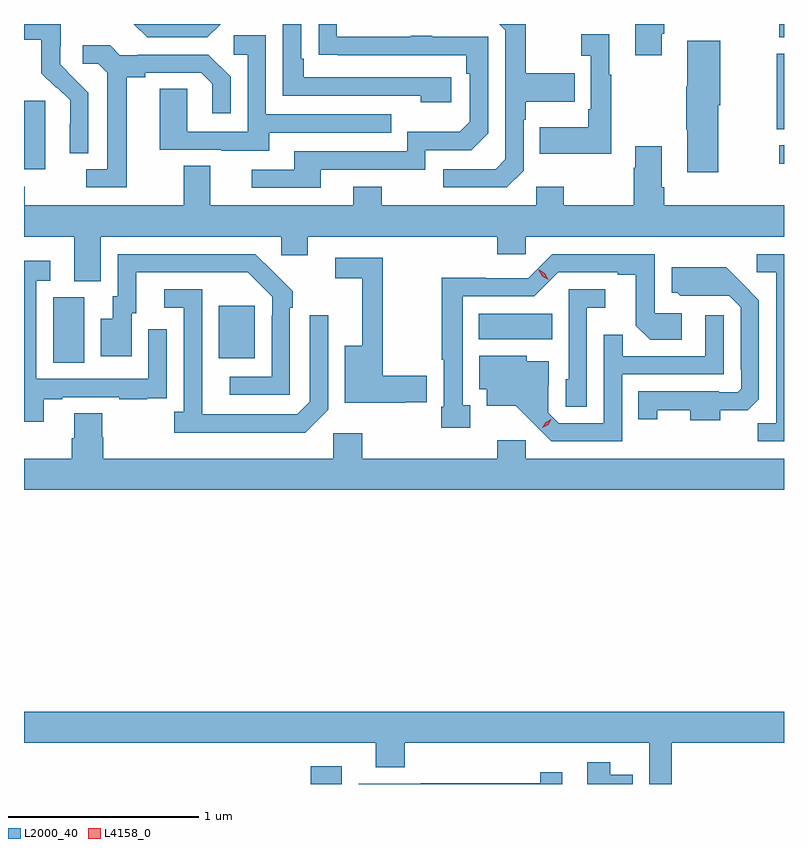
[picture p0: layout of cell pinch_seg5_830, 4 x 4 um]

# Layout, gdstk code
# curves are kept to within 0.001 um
import gdstk
lib = gdstk.Library(unit=1e-6, precision=1e-09)
def R(c, l, rs):  # rectangles x0, y0, x1, y1
    for r in rs: c.add(gdstk.rectangle(r[:2], r[2:], *l))
def P(c, l, *ps):  # polygons
    for p in ps: c.add(gdstk.Polygon(p, *l))
L2000_40 = (2000, 40)
L4158_0 = (4158, 0)

pinch_seg5_830 = lib.new_cell('pinch_seg5_830')
R(pinch_seg5_830, L2000_40, [(759.194,875.191,759.358,875.284), (757.838,877.408,758.002,877.752), (758.711,877.433,758.899,877.708), (760.079,877.532,760.466,877.666), (757.685,878.426,757.798,878.787), (761.661,878.455,761.685,878.553), (761.647,878.638,761.685,879.035), (761.661,879.12,761.685,879.191)])
P(pinch_seg5_830, L2000_40, [(761.041,879.139),(761.054,879.139),(761.054,879.191),(760.901,879.191),(760.901,879.027),(761.041,879.027)],
  [(759.934,878.91),(759.157,878.91),(759.157,879.007),(759.144,879.007),(759.144,879.191),(759.048,879.191),(759.048,878.814),(759.773,878.814),(759.773,878.78),(759.934,878.78)],
  [(760.314,878.418),(760.314,878.687),(760.327,878.687),(760.327,878.783),(760.583,878.783),(760.583,878.931),(760.327,878.931),(760.327,879.191),(760.186,879.191),(760.218,879.159),(760.218,878.478),(760.167,878.427),(759.891,878.427),(759.891,878.331),(760.227,878.331)],
  [(758.72,879.191),(758.263,879.191),(758.334,879.12),(758.649,879.12)],
  [(758.022,878.83),(757.876,878.978),(757.876,879.075),(757.878,879.075),(757.878,879.191),(757.685,879.191),(757.685,879.108),(757.777,879.108),(757.777,878.933),(757.854,878.856),(757.857,878.859),(757.928,878.789),(757.928,878.666),(757.926,878.666),(757.926,878.512),(758.022,878.512)],
  [(759.247,878.424),(759.798,878.424),(759.798,878.526),(760.038,878.526),(760.128,878.616),(760.128,879.123),(759.833,879.123),(759.833,879.128),(759.721,879.128),(759.721,879.123),(759.331,879.123),(759.331,879.191),(759.235,879.191),(759.235,879.028),(760.012,879.027),(760.012,878.93),(760.032,878.93),(760.032,878.676),(759.979,878.623),(759.702,878.623),(759.702,878.52),(759.107,878.52),(759.107,878.424),(758.883,878.424),(758.883,878.328),(759.247,878.328)],
  [(760.777,878.923),(760.765,878.923),(760.765,879.136),(760.617,879.136),(760.617,879.023),(760.668,879.023),(760.668,878.743),(760.656,878.743),(760.656,878.647),(760.399,878.647),(760.399,878.507),(760.777,878.507)],
  [(758.977,878.619),(759.617,878.619),(759.617,878.715),(758.958,878.715),(758.958,879.131),(758.79,879.131),(758.79,879.03),(758.862,879.03),(758.862,878.625),(758.544,878.625),(758.544,878.849),(758.399,878.849),(758.399,878.529),(758.723,878.529),(758.723,878.525),(758.977,878.525)],
  [(761.34,878.763),(761.35,878.763),(761.35,879.103),(761.177,879.103),(761.177,878.863),(761.17,878.863),(761.17,878.635),(761.177,878.635),(761.177,878.412),(761.34,878.412)],
  [(758.227,878.912),(758.323,878.912),(758.323,878.934),(758.618,878.934),(758.675,878.877),(758.675,878.721),(758.772,878.721),(758.772,878.914),(758.656,879.03),(758.284,879.03),(758.284,879.027),(758.19,879.027),(758.138,879.079),(757.995,879.079),(757.995,878.982),(758.076,878.982),(758.123,878.935),(758.123,878.427),(758.013,878.427),(758.013,878.331),(758.227,878.331)],
  [(760.175,877.979),(760.326,877.979),(760.326,878.072),(761.685,878.072),(761.685,878.236),(761.054,878.236),(761.054,878.332),(761.041,878.332),(761.041,878.548),(760.901,878.548),(760.901,878.435),(760.894,878.435),(760.894,878.236),(760.527,878.236),(760.527,878.335),(760.38,878.335),(760.38,878.236),(759.567,878.236),(759.567,878.335),(759.419,878.335),(759.419,878.236),(758.665,878.236),(758.665,878.444),(758.525,878.444),(758.525,878.236),(757.689,878.236),(757.689,878.335),(757.685,878.335),(757.685,878.072),(757.949,878.072),(757.949,877.837),(758.089,877.837),(758.089,878.072),(759.039,878.072),(759.039,877.974),(759.178,877.974),(759.178,878.072),(760.175,878.072)],
  [(761.685,877.98),(761.541,877.98),(761.541,877.884),(761.643,877.884),(761.643,877.091),(761.548,877.091),(761.548,876.996),(761.685,876.996)],
  [(759.084,877.697),(759.099,877.697),(759.099,877.785),(758.902,877.98),(758.178,877.98),(758.178,877.758),(758.153,877.758),(758.153,877.639),(758.09,877.639),(758.09,877.443),(758.251,877.443),(758.251,877.668),(758.275,877.668),(758.275,877.884),(758.863,877.884),(758.991,877.755),(758.991,877.655),(758.988,877.655),(758.988,877.335),(758.769,877.335),(758.769,877.239),(759.084,877.239)],
  [(760.033,877.185),(759.994,877.185),(759.994,877.758),(760.371,877.758),(760.497,877.884),(760.811,877.884),(760.811,877.872),(760.905,877.872),(760.905,877.604),(760.981,877.528),(761.146,877.528),(761.146,877.668),(761.004,877.668),(761.004,877.98),(760.464,877.98),(760.338,877.854),(760.116,877.854),(760.116,877.856),(759.883,877.856),(759.883,877.423),(759.893,877.423),(759.893,877.177),(759.882,877.177),(759.882,877.065),(760.033,877.065)],
  [(759.692,877.201),(759.805,877.201),(759.805,877.34),(759.574,877.34),(759.574,877.962),(759.324,877.962),(759.324,877.854),(759.464,877.854),(759.464,877.498),(759.374,877.498),(759.374,877.198),(759.692,877.198)],
  [(757.789,877.215),(757.885,877.215),(757.885,877.227),(758.185,877.227),(758.185,877.215),(758.333,877.215),(758.333,877.221),(758.435,877.221),(758.435,877.33),(758.436,877.33),(758.436,877.585),(758.34,877.585),(758.34,877.323),(757.749,877.323),(757.749,877.839),(757.822,877.839),(757.822,877.945),(757.685,877.945),(757.685,877.098),(757.789,877.098)],
  [(761.35,877.157),(761.494,877.157),(761.553,877.216),(761.553,877.738),(761.381,877.912),(761.093,877.912),(761.093,877.776),(761.124,877.776),(761.14,877.76),(761.397,877.761),(761.457,877.701),(761.457,877.372),(761.46,877.372),(761.46,877.272),(761.442,877.254),(761.342,877.254),(761.342,877.257),(760.918,877.257),(760.918,877.11),(761.019,877.11),(761.019,877.159),(761.192,877.159),(761.192,877.106),(761.35,877.106)],
  [(759.285,877.161),(759.285,877.657),(759.189,877.657),(759.189,877.203),(759.123,877.137),(758.623,877.137),(758.622,877.794),(758.424,877.794),(758.424,877.698),(758.526,877.698),(758.526,877.15),(758.475,877.15),(758.475,877.04),(759.164,877.04)],
  [(760.647,877.697),(760.744,877.697),(760.744,877.794),(760.551,877.794),(760.551,877.32),(760.536,877.32),(760.536,877.177),(760.647,877.177)],
  [(760.833,877.347),(761.367,877.347),(761.367,877.657),(761.271,877.657),(761.271,877.443),(760.835,877.443),(760.835,877.556),(760.737,877.556),(760.737,877.089),(760.5,877.089),(760.443,877.146),(760.443,877.288),(760.447,877.288),(760.447,877.417),(760.332,877.417),(760.332,877.444),(760.082,877.444),(760.082,877.268),(760.121,877.268),(760.121,877.181),(760.273,877.181),(760.46,876.996),(760.833,876.996)],
  [(761.685,876.904),(760.326,876.904),(760.326,877),(760.175,877),(760.175,876.904),(759.464,876.904),(759.464,877.036),(759.312,877.036),(759.312,876.904),(758.102,876.904),(758.102,877.017),(758.097,877.017),(758.097,877.142),(757.949,877.142),(757.949,877.01),(757.937,877.01),(757.937,876.904),(757.685,876.904),(757.685,876.74),(761.685,876.74)],
  [(761.093,875.408),(761.685,875.408),(761.685,875.572),(757.685,875.572),(757.685,875.408),(759.536,875.408),(759.536,875.278),(759.689,875.278),(759.689,875.408),(760.977,875.408),(760.977,875.191),(761.093,875.191)],
  [(760.888,875.239),(760.771,875.239),(760.771,875.305),(760.649,875.305),(760.649,875.191),(760.888,875.191)],
  [(760.518,875.254),(760.402,875.254),(760.402,875.195),(759.772,875.195),(759.772,875.193),(759.447,875.193),(759.447,875.191),(760.518,875.191)])
P(pinch_seg5_830, L4158_0, [(760.413,877.066),(760.413,877.066),(760.43,877.096),(760.461,877.111),(760.461,877.111),(760.461,877.111),(760.444,877.081),(760.413,877.066)],
  [(760.444,877.845),(760.413,877.864),(760.395,877.896),(760.395,877.897),(760.396,877.897),(760.427,877.878),(760.444,877.845),(760.444,877.845)])

lib.write_gds('pinch_seg5_830.gds')
